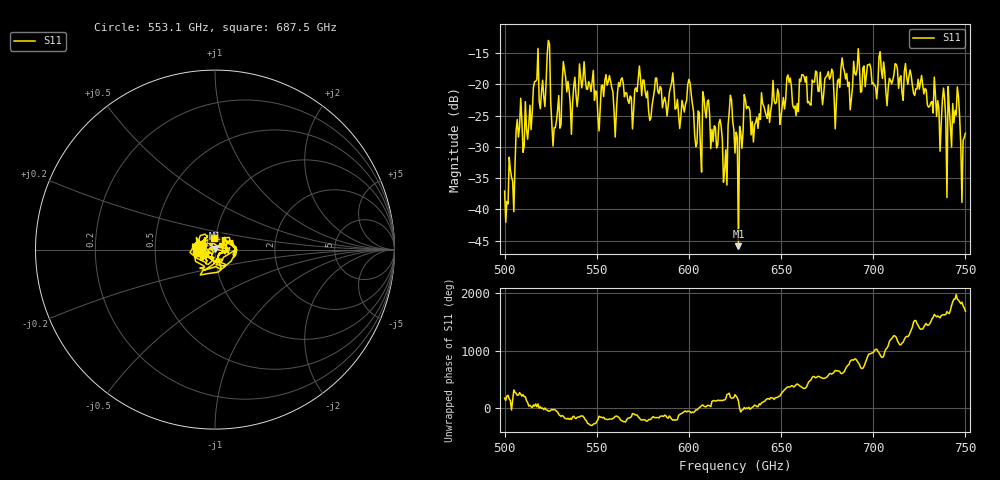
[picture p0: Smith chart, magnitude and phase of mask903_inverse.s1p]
!Created with skrf (http://scikit-rf.org).
# GHz S MA R 50.0
!freq magS11 angS11
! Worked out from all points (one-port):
!   401 points, 500 GHz to 750 GHz, reference 50 ohm
!   lowest |S11| = -45.9 dB at 626.9 GHz (marker M1), VSWR 1.01, Z = 49.7 + j0.433 ohm
!   |S11| at or under -10 dB: start of sweep to end of sweep
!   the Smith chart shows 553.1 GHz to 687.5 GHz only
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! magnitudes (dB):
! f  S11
! 500 GHz  -37.1
! 516.9 GHz  -19.5
! 520.6 GHz  -19.3
! 523.8 GHz  -13.0
! 526.9 GHz  -27.0
! 531.2 GHz  -19.6
! 556.2 GHz  -19.6
! 560 GHz  -28.4
! 562.5 GHz  -20.3
! 579.4 GHz  -25.4
! 590.6 GHz  -19.7
! 593.8 GHz  -22.4
! 600.6 GHz  -19.8
! 605.6 GHz  -24.5
! 608.8 GHz  -24.1
! 619.4 GHz  -33.7
! 622.5 GHz  -21.7
! 625 GHz  -31.0
! 626.9 GHz  -45.9
! 631.2 GHz  -23.9
! 635 GHz  -29.2
! 656.2 GHz  -23.3
! 680 GHz  -22.8
! 683.8 GHz  -17.2
! 687.5 GHz  -24.1
! 690.6 GHz  -18.5
! 718.8 GHz  -20.0
! 750 GHz  -27.8
